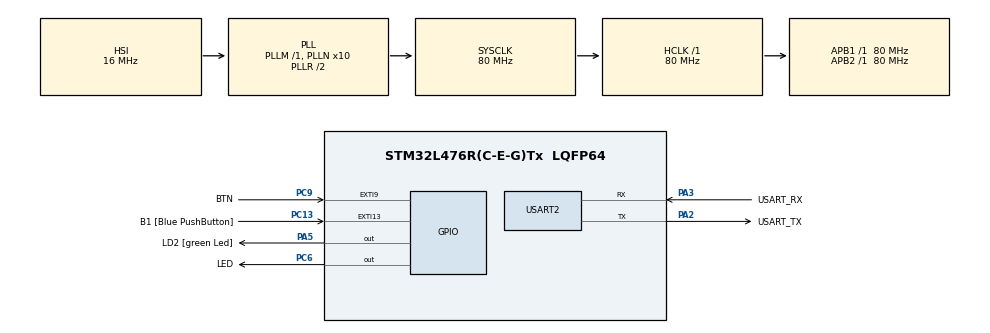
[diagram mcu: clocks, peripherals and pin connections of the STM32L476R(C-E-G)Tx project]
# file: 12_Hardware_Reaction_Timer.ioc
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Dma.Request0=USART2_TX
Dma.USART2_TX.0.Direction=DMA_MEMORY_TO_PERIPH
Dma.USART2_TX.0.Instance=DMA1_Channel7
Dma.USART2_TX.0.MemDataAlignment=DMA_MDATAALIGN_BYTE
Dma.USART2_TX.0.MemInc=DMA_MINC_ENABLE
Dma.USART2_TX.0.Mode=DMA_NORMAL
Dma.USART2_TX.0.PeriphDataAlignment=DMA_PDATAALIGN_BYTE
Dma.USART2_TX.0.PeriphInc=DMA_PINC_DISABLE
Dma.USART2_TX.0.Priority=DMA_PRIORITY_LOW
Mcu.Family=STM32L4
Mcu.Name=STM32L476R(C-E-G)Tx
Mcu.Package=LQFP64
NVIC.DMA1_Channel7_IRQn=true\:0\:0\:false\:false\:true\:false\:true\:true
NVIC.EXTI9_5_IRQn=true\:0\:0\:false\:false\:true\:true\:true\:true
NVIC.PriorityGroup=NVIC_PRIORITYGROUP_4
NVIC.USART2_IRQn=true\:0\:0\:false\:false\:true\:true\:true\:true
PA13\ (JTMS-SWDIO).GPIO_Label=TMS
PA13\ (JTMS-SWDIO).Mode=Serial_Wire
PA13\ (JTMS-SWDIO).Signal=SYS_JTMS-SWDIO
PA14\ (JTCK-SWCLK).GPIO_Label=TCK
PA14\ (JTCK-SWCLK).Mode=Serial_Wire
PA14\ (JTCK-SWCLK).Signal=SYS_JTCK-SWCLK
PA2.GPIO_Label=USART_TX
PA2.GPIO_Mode=GPIO_MODE_AF_PP
PA2.GPIO_PuPd=GPIO_NOPULL
PA2.GPIO_Speed=GPIO_SPEED_FREQ_VERY_HIGH
PA2.Mode=Asynchronous
PA2.Signal=USART2_TX
PA3.GPIO_Label=USART_RX
PA3.GPIO_Mode=GPIO_MODE_AF_PP
PA3.GPIO_PuPd=GPIO_NOPULL
PA3.GPIO_Speed=GPIO_SPEED_FREQ_VERY_HIGH
PA3.Mode=Asynchronous
PA3.Signal=USART2_RX
PA5.GPIO_Label=LD2 [green Led]
PA5.GPIO_ModeDefaultOutputPP=GPIO_MODE_OUTPUT_PP
PA5.GPIO_PuPd=GPIO_NOPULL
PA5.GPIO_Speed=GPIO_SPEED_FREQ_LOW
PA5.Signal=GPIO_Output
PB3\ (JTDO-TRACESWO).GPIO_Label=SWO
PB3\ (JTDO-TRACESWO).Signal=SYS_JTDO-SWO
PC13.GPIO_Label=B1 [Blue PushButton]
PC13.GPIO_ModeDefaultEXTI=GPIO_MODE_IT_FALLING
PC13.GPIO_PuPd=GPIO_NOPULL
PC13.Signal=GPXTI13
PC14-OSC32_IN\ (PC14).Mode=LSE-External-Oscillator
PC14-OSC32_IN\ (PC14).Signal=RCC_OSC32_IN
PC15-OSC32_OUT\ (PC15).Mode=LSE-External-Oscillator
PC15-OSC32_OUT\ (PC15).Signal=RCC_OSC32_OUT
PC6.GPIO_Label=LED
PC6.Signal=GPIO_Output
PC9.GPIO_Label=BTN
PC9.GPIO_ModeDefaultEXTI=GPIO_MODE_IT_FALLING
PC9.GPIO_PuPd=GPIO_PULLUP
PC9.Signal=GPXTI9
PH0-OSC_IN\ (PH0).Signal=RCC_OSC_IN
PH1-OSC_OUT\ (PH1).Signal=RCC_OSC_OUT
ProjectManager.HeapSize=0x200
ProjectManager.StackSize=0x400
ProjectManager.TargetToolchain=STM32CubeIDE
RCC.ADCFreq_Value=64000000
RCC.AHBFreq_Value=80000000
RCC.APB1Freq_Value=80000000
RCC.APB1TimFreq_Value=80000000
RCC.APB2Freq_Value=80000000
RCC.APB2TimFreq_Value=80000000
RCC.CortexFreq_Value=80000000
RCC.HCLKFreq_Value=80000000
RCC.HSE_VALUE=8000000
RCC.HSI_VALUE=16000000
RCC.MSI_VALUE=4000000
RCC.PLLN=10
RCC.PLLSourceVirtual=RCC_PLLSOURCE_HSI
RCC.PREFETCH_ENABLE=1
RCC.SYSCLKFreq_VALUE=80000000
RCC.SYSCLKSource=RCC_SYSCLKSOURCE_PLLCLK
RCC.USBFreq_Value=64000000
RCC.VCOOutputFreq_Value=160000000
TIM2.Prescaler=79
USART2.VirtualMode-Asynchronous=VM_ASYNC
VP_TIM2_VS_ClockSourceINT.Mode=Internal
board=NUCLEO-L476RG

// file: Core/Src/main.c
/* USER CODE BEGIN Header */
/**
  ******************************************************************************
  * @file           : main.c
  * @brief          : Main program body
  ******************************************************************************
  * @attention
  *
  * Copyright (c) 2026 STMicroelectronics.
  * All rights reserved.
  *
  * This software is licensed under terms that can be found in the LICENSE file
  * in the root directory of this software component.
  * If no LICENSE file comes with this software, it is provided AS-IS.
  *
  ******************************************************************************
  */
/* USER CODE END Header */
#include "main.h"

/* USER CODE BEGIN Includes */
#include <stdio.h>
#include <string.h>
/* USER CODE END Includes */

/* USER CODE BEGIN PTD */
typedef enum {
	STATE_IDLE,			// System resting; waiting for the first button press to start the game
	STATE_WAITING,		// Random invisible delay running; LED off (checks for false starts)
	STATE_MEASURING,	// LED turns ON; TIM2 hardware stopwatch is counting microseconds
	STATE_RESULT		// Button pressed! Timer stops, calculates ms, prints to terminal, and resets
} GamaState_t;
/* USER CODE END PTD */

TIM_HandleTypeDef htim2;

UART_HandleTypeDef huart2;
DMA_HandleTypeDef hdma_usart2_tx;

/* USER CODE BEGIN PV */
volatile GamaState_t current_state = STATE_IDLE;
volatile uint32_t wait_start_time = 0;
char tx_buffer[64];
/* USER CODE END PV */

void SystemClock_Config(void);
static void MX_GPIO_Init(void);
static void MX_DMA_Init(void);
static void MX_USART2_UART_Init(void);
static void MX_TIM2_Init(void);

int main(void)
{

  /* MCU Configuration--------------------------------------------------------*/

  /* Reset of all peripherals, Initializes the Flash interface and the Systick. */
  HAL_Init();

  /* Configure the system clock */
  SystemClock_Config();

  /* Initialize all configured peripherals */
  MX_GPIO_Init();
  MX_DMA_Init();
  MX_USART2_UART_Init();
  MX_TIM2_Init();
  /* USER CODE BEGIN 2 */
char msg[64];
snprintf(msg, sizeof(msg), "\r\n--- REACTION TIMER ---\r\nPress button to start...\r\n");
HAL_UART_Transmit(&huart2, (uint8_t*)msg, strlen(msg), 100); // Standard blocking is fine for boot-up
  /* USER CODE END 2 */

  /* Infinite loop */
  /* USER CODE BEGIN WHILE */
  while (1)
  {
	  switch (current_state)
	  {
	  	  case STATE_IDLE:
	  		  // Do nothing here!
			  // The CPU just spins rapidly until you press the button.
			  // Your EXTI callback will detect the button press and change the state to STATE_WAITING
	  		  break;
	  	  case STATE_WAITING:
	  	  {
	  		  uint32_t current_time = HAL_GetTick();

	  		  const uint32_t const_time = 1500;	// 1500ms before LED turns up

	  		  if (current_time - wait_start_time >= const_time)
	  		  {
	  			  HAL_GPIO_WritePin(LED_GPIO_Port, LED_Pin, GPIO_PIN_SET);

	  			  TIM2->CNT = 0;					// Reset the microsecond counter to 0
	  			  HAL_TIM_Base_Start(&htim2); 		// Start the hardware stopwatch
	  			  current_state = STATE_MEASURING; 	// Move to the next state
	  		  }
	  	  }
	  	  break;

	  	  case STATE_MEASURING:
	  		  // Do nothing here!
			  // The CPU just spins while the TIM2 hardware counts microseconds in the background
			  // EXTI callback will detect reaction press, stop TIM2, and change state to STATE_RESULT
	  		  break;

	  	  case STATE_RESULT:
	  	  {
	  		  uint32_t reaction_time = TIM2->CNT / 1000;

	  		  snprintf(tx_buffer, sizeof(tx_buffer), "Score: %lu ms\r\n", reaction_time);
	  		  HAL_UART_Transmit(&huart2, (uint8_t*)tx_buffer, strlen(tx_buffer), 100);
	  		  current_state = STATE_IDLE;
	  	  }
	  	  break;
	  }
    /* USER CODE END WHILE */

  }
}

void SystemClock_Config(void)
{
  RCC_OscInitTypeDef RCC_OscInitStruct = {0};
  RCC_ClkInitTypeDef RCC_ClkInitStruct = {0};

  /** Configure the main internal regulator output voltage
  */
  if (HAL_PWREx_ControlVoltageScaling(PWR_REGULATOR_VOLTAGE_SCALE1) != HAL_OK)
  {
    Error_Handler();
  }

  /** Initializes the RCC Oscillators according to the specified parameters
  * in the RCC_OscInitTypeDef structure.
  */
  RCC_OscInitStruct.OscillatorType = RCC_OSCILLATORTYPE_HSI;
  RCC_OscInitStruct.HSIState = RCC_HSI_ON;
  RCC_OscInitStruct.HSICalibrationValue = RCC_HSICALIBRATION_DEFAULT;
  RCC_OscInitStruct.PLL.PLLState = RCC_PLL_ON;
  RCC_OscInitStruct.PLL.PLLSource = RCC_PLLSOURCE_HSI;
  RCC_OscInitStruct.PLL.PLLM = 1;
  RCC_OscInitStruct.PLL.PLLN = 10;
  RCC_OscInitStruct.PLL.PLLP = RCC_PLLP_DIV7;
  RCC_OscInitStruct.PLL.PLLQ = RCC_PLLQ_DIV2;
  RCC_OscInitStruct.PLL.PLLR = RCC_PLLR_DIV2;
  if (HAL_RCC_OscConfig(&RCC_OscInitStruct) != HAL_OK)
  {
    Error_Handler();
  }

  /** Initializes the CPU, AHB and APB buses clocks
  */
  RCC_ClkInitStruct.ClockType = RCC_CLOCKTYPE_HCLK|RCC_CLOCKTYPE_SYSCLK
                              |RCC_CLOCKTYPE_PCLK1|RCC_CLOCKTYPE_PCLK2;
  RCC_ClkInitStruct.SYSCLKSource = RCC_SYSCLKSOURCE_PLLCLK;
  RCC_ClkInitStruct.AHBCLKDivider = RCC_SYSCLK_DIV1;
  RCC_ClkInitStruct.APB1CLKDivider = RCC_HCLK_DIV1;
  RCC_ClkInitStruct.APB2CLKDivider = RCC_HCLK_DIV1;

  if (HAL_RCC_ClockConfig(&RCC_ClkInitStruct, FLASH_LATENCY_4) != HAL_OK)
  {
    Error_Handler();
  }
}

static void MX_TIM2_Init(void)
{

  TIM_ClockConfigTypeDef sClockSourceConfig = {0};
  TIM_MasterConfigTypeDef sMasterConfig = {0};

  htim2.Instance = TIM2;
  htim2.Init.Prescaler = 79;
  htim2.Init.CounterMode = TIM_COUNTERMODE_UP;
  htim2.Init.Period = 4294967295;
  htim2.Init.ClockDivision = TIM_CLOCKDIVISION_DIV1;
  htim2.Init.AutoReloadPreload = TIM_AUTORELOAD_PRELOAD_DISABLE;
  if (HAL_TIM_Base_Init(&htim2) != HAL_OK)
  {
    Error_Handler();
  }
  sClockSourceConfig.ClockSource = TIM_CLOCKSOURCE_INTERNAL;
  if (HAL_TIM_ConfigClockSource(&htim2, &sClockSourceConfig) != HAL_OK)
  {
    Error_Handler();
  }
  sMasterConfig.MasterOutputTrigger = TIM_TRGO_RESET;
  sMasterConfig.MasterSlaveMode = TIM_MASTERSLAVEMODE_DISABLE;
  if (HAL_TIMEx_MasterConfigSynchronization(&htim2, &sMasterConfig) != HAL_OK)
  {
    Error_Handler();
  }

}

static void MX_USART2_UART_Init(void)
{

  huart2.Instance = USART2;
  huart2.Init.BaudRate = 115200;
  huart2.Init.WordLength = UART_WORDLENGTH_8B;
  huart2.Init.StopBits = UART_STOPBITS_1;
  huart2.Init.Parity = UART_PARITY_NONE;
  huart2.Init.Mode = UART_MODE_TX_RX;
  huart2.Init.HwFlowCtl = UART_HWCONTROL_NONE;
  huart2.Init.OverSampling = UART_OVERSAMPLING_16;
  huart2.Init.OneBitSampling = UART_ONE_BIT_SAMPLE_DISABLE;
  huart2.AdvancedInit.AdvFeatureInit = UART_ADVFEATURE_NO_INIT;
  if (HAL_UART_Init(&huart2) != HAL_OK)
  {
    Error_Handler();
  }

}

static void MX_DMA_Init(void)
{

  /* DMA controller clock enable */
  __HAL_RCC_DMA1_CLK_ENABLE();

  /* DMA interrupt init */
  /* DMA1_Channel7_IRQn interrupt configuration */
  HAL_NVIC_SetPriority(DMA1_Channel7_IRQn, 0, 0);
  HAL_NVIC_EnableIRQ(DMA1_Channel7_IRQn);

}

static void MX_GPIO_Init(void)
{
  GPIO_InitTypeDef GPIO_InitStruct = {0};

  /* GPIO Ports Clock Enable */
  __HAL_RCC_GPIOC_CLK_ENABLE();
  __HAL_RCC_GPIOH_CLK_ENABLE();
  __HAL_RCC_GPIOA_CLK_ENABLE();
  __HAL_RCC_GPIOB_CLK_ENABLE();

  /*Configure GPIO pin Output Level */
  HAL_GPIO_WritePin(LD2_GPIO_Port, LD2_Pin, GPIO_PIN_RESET);

  /*Configure GPIO pin Output Level */
  HAL_GPIO_WritePin(LED_GPIO_Port, LED_Pin, GPIO_PIN_RESET);

  /*Configure GPIO pin : B1_Pin */
  GPIO_InitStruct.Pin = B1_Pin;
  GPIO_InitStruct.Mode = GPIO_MODE_IT_FALLING;
  GPIO_InitStruct.Pull = GPIO_NOPULL;
  HAL_GPIO_Init(B1_GPIO_Port, &GPIO_InitStruct);

  /*Configure GPIO pin : LD2_Pin */
  GPIO_InitStruct.Pin = LD2_Pin;
  GPIO_InitStruct.Mode = GPIO_MODE_OUTPUT_PP;
  GPIO_InitStruct.Pull = GPIO_NOPULL;
  GPIO_InitStruct.Speed = GPIO_SPEED_FREQ_LOW;
  HAL_GPIO_Init(LD2_GPIO_Port, &GPIO_InitStruct);

  /*Configure GPIO pin : LED_Pin */
  GPIO_InitStruct.Pin = LED_Pin;
  GPIO_InitStruct.Mode = GPIO_MODE_OUTPUT_PP;
  GPIO_InitStruct.Pull = GPIO_NOPULL;
  GPIO_InitStruct.Speed = GPIO_SPEED_FREQ_LOW;
  HAL_GPIO_Init(LED_GPIO_Port, &GPIO_InitStruct);

  /*Configure GPIO pin : BTN_Pin */
  GPIO_InitStruct.Pin = BTN_Pin;
  GPIO_InitStruct.Mode = GPIO_MODE_IT_FALLING;
  GPIO_InitStruct.Pull = GPIO_PULLUP;
  HAL_GPIO_Init(BTN_GPIO_Port, &GPIO_InitStruct);

  /* EXTI interrupt init*/
  HAL_NVIC_SetPriority(EXTI9_5_IRQn, 0, 0);
  HAL_NVIC_EnableIRQ(EXTI9_5_IRQn);

}

/* USER CODE BEGIN 4 */
void HAL_GPIO_EXTI_Callback(uint16_t GPIO_Pin)
{
	if (GPIO_Pin == GPIO_PIN_9)
	{
		if (current_state == STATE_IDLE)
		{
			// First press: Start the game!
			wait_start_time = HAL_GetTick();
			current_state = STATE_WAITING;
		}
		else if (current_state == STATE_MEASURING)
		{
			// Second press: Reaction time, stop watch instantly
			HAL_TIM_Base_Stop(&htim2);
			HAL_GPIO_WritePin(LED_GPIO_Port, LED_Pin, GPIO_PIN_RESET);
			current_state = STATE_RESULT;
		}
	}
}
/* USER CODE END 4 */

void Error_Handler(void)
{
  __disable_irq();
  while (1)
  {
  }
}
